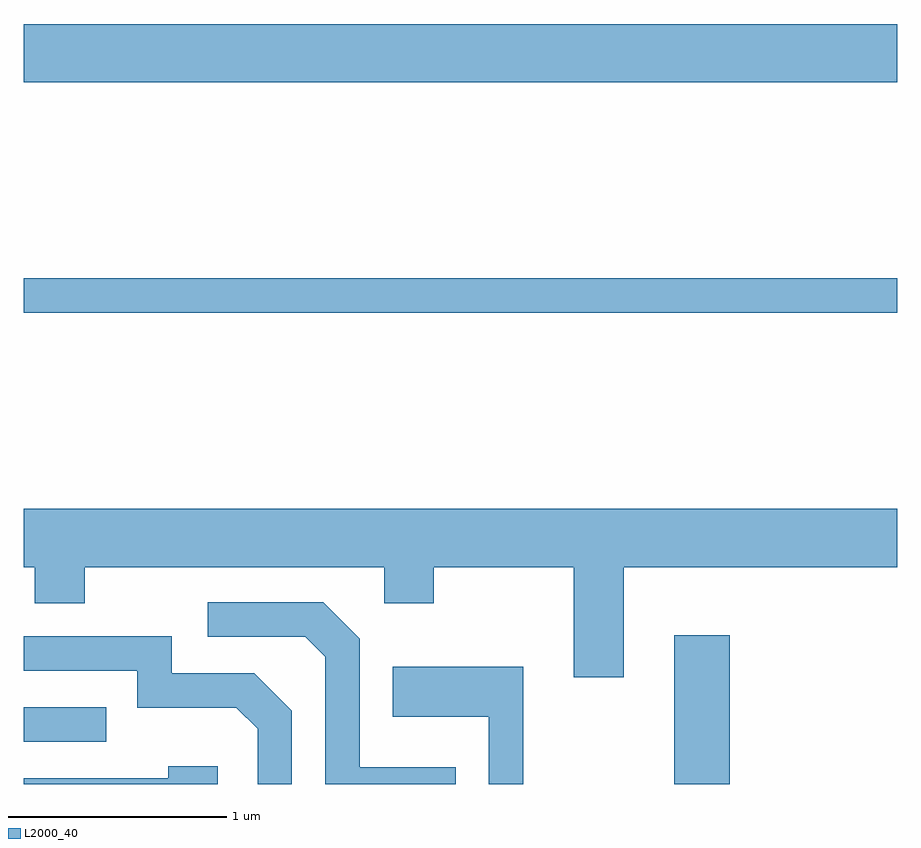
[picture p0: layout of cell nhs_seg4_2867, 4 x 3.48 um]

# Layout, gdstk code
import gdstk
lib = gdstk.Library(unit=1e-6, precision=1e-09)
def R(c, l, rs):  # rectangles x0, y0, x1, y1
    for r in rs: c.add(gdstk.rectangle(r[:2], r[2:], *l))
def P(c, l, *ps):  # polygons
    for p in ps: c.add(gdstk.Polygon(p, *l))
L2000_40 = (2000, 40)

nhs_seg4_2867 = lib.new_cell('nhs_seg4_2867')
R(nhs_seg4_2867, L2000_40, [(272.591,1275.982,272.844,1276.664), (269.611,1276.176,269.988,1276.334), (269.611,1278.141,273.611,1278.299), (269.611,1279.196,273.611,1279.464)])
P(nhs_seg4_2867, L2000_40, [(272.359,1276.976),(273.611,1276.976),(273.611,1277.244),(269.611,1277.244),(269.611,1276.976),(269.661,1276.976),(269.661,1276.811),(269.889,1276.811),(269.889,1276.976),(271.261,1276.976),(271.261,1276.811),(271.489,1276.811),(271.489,1276.976),(272.131,1276.976),(272.131,1276.471),(272.359,1276.471)],
  [(271.589,1276.059),(271.149,1276.059),(271.149,1276.647),(270.982,1276.814),(270.453,1276.814),(270.453,1276.656),(270.899,1276.656),(270.991,1276.564),(270.991,1275.982),(271.589,1275.982)],
  [(270.839,1276.317),(270.667,1276.489),(270.289,1276.489),(270.289,1276.659),(269.611,1276.659),(269.611,1276.501),(270.131,1276.501),(270.131,1276.331),(270.584,1276.331),(270.681,1276.234),(270.681,1275.982),(270.839,1275.982)],
  [(271.899,1276.519),(271.301,1276.519),(271.301,1276.291),(271.741,1276.291),(271.741,1275.982),(271.899,1275.982)],
  [(270.499,1276.064),(270.271,1276.064),(270.271,1276.009),(269.611,1276.009),(269.611,1275.982),(270.499,1275.982)])

lib.write_gds('nhs_seg4_2867.gds')
